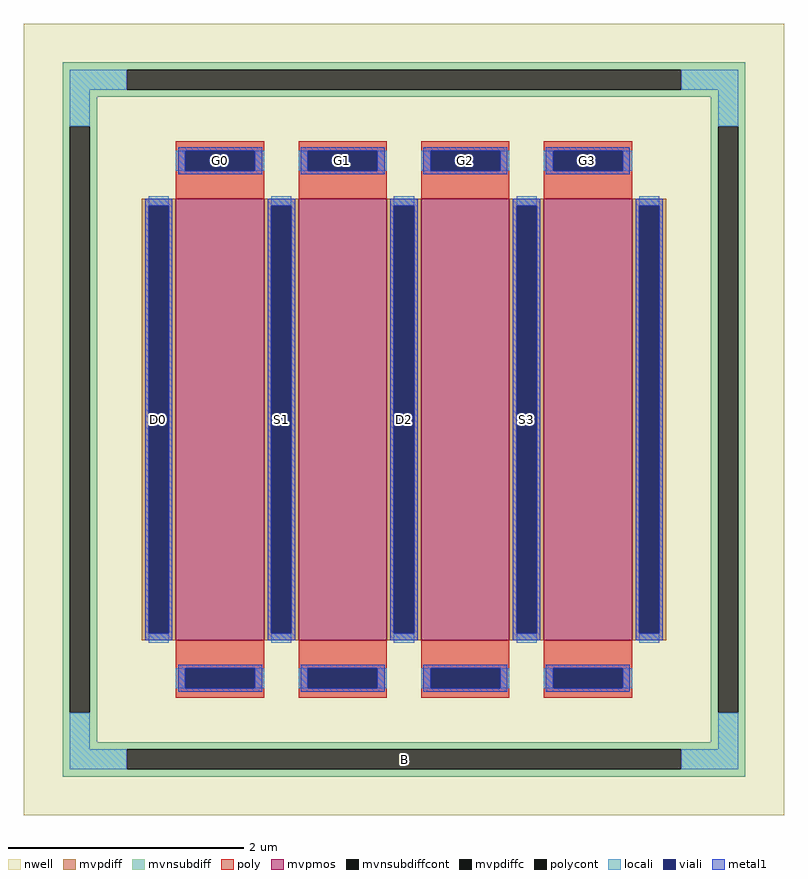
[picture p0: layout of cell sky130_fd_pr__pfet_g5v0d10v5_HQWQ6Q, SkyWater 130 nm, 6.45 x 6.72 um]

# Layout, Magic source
magic
tech sky130A
magscale 1 2
<< nwell >>
rect -645 -672 645 672
<< mvpmos >>
rect -387 -375 -237 375
rect -179 -375 -29 375
rect 29 -375 179 375
rect 237 -375 387 375
<< mvpdiff >>
rect -445 363 -387 375
rect -445 -363 -433 363
rect -399 -363 -387 363
rect -445 -375 -387 -363
rect -237 363 -179 375
rect -237 -363 -225 363
rect -191 -363 -179 363
rect -237 -375 -179 -363
rect -29 363 29 375
rect -29 -363 -17 363
rect 17 -363 29 363
rect -29 -375 29 -363
rect 179 363 237 375
rect 179 -363 191 363
rect 225 -363 237 363
rect 179 -375 237 -363
rect 387 363 445 375
rect 387 -363 399 363
rect 433 -363 445 363
rect 387 -375 445 -363
<< mvpdiffc >>
rect -433 -363 -399 363
rect -225 -363 -191 363
rect -17 -363 17 363
rect 191 -363 225 363
rect 399 -363 433 363
<< mvnsubdiff >>
rect -579 594 579 606
rect -579 560 -471 594
rect 471 560 579 594
rect -579 548 579 560
rect -579 498 -521 548
rect -579 -498 -567 498
rect -533 -498 -521 498
rect 521 498 579 548
rect -579 -548 -521 -498
rect 521 -498 533 498
rect 567 -498 579 498
rect 521 -548 579 -498
rect -579 -560 579 -548
rect -579 -594 -471 -560
rect 471 -594 579 -560
rect -579 -606 579 -594
<< mvnsubdiffcont >>
rect -471 560 471 594
rect -567 -498 -533 498
rect 533 -498 567 498
rect -471 -594 471 -560
<< poly >>
rect -387 456 -237 472
rect -387 422 -371 456
rect -253 422 -237 456
rect -387 375 -237 422
rect -179 456 -29 472
rect -179 422 -163 456
rect -45 422 -29 456
rect -179 375 -29 422
rect 29 456 179 472
rect 29 422 45 456
rect 163 422 179 456
rect 29 375 179 422
rect 237 456 387 472
rect 237 422 253 456
rect 371 422 387 456
rect 237 375 387 422
rect -387 -422 -237 -375
rect -387 -456 -371 -422
rect -253 -456 -237 -422
rect -387 -472 -237 -456
rect -179 -422 -29 -375
rect -179 -456 -163 -422
rect -45 -456 -29 -422
rect -179 -472 -29 -456
rect 29 -422 179 -375
rect 29 -456 45 -422
rect 163 -456 179 -422
rect 29 -472 179 -456
rect 237 -422 387 -375
rect 237 -456 253 -422
rect 371 -456 387 -422
rect 237 -472 387 -456
<< polycont >>
rect -371 422 -253 456
rect -163 422 -45 456
rect 45 422 163 456
rect 253 422 371 456
rect -371 -456 -253 -422
rect -163 -456 -45 -422
rect 45 -456 163 -422
rect 253 -456 371 -422
<< locali >>
rect -567 560 -471 594
rect 471 560 567 594
rect -567 498 -533 560
rect 533 498 567 560
rect -387 422 -371 456
rect -253 422 -237 456
rect -179 422 -163 456
rect -45 422 -29 456
rect 29 422 45 456
rect 163 422 179 456
rect 237 422 253 456
rect 371 422 387 456
rect -433 363 -399 379
rect -433 -379 -399 -363
rect -225 363 -191 379
rect -225 -379 -191 -363
rect -17 363 17 379
rect -17 -379 17 -363
rect 191 363 225 379
rect 191 -379 225 -363
rect 399 363 433 379
rect 399 -379 433 -363
rect -387 -456 -371 -422
rect -253 -456 -237 -422
rect -179 -456 -163 -422
rect -45 -456 -29 -422
rect 29 -456 45 -422
rect 163 -456 179 -422
rect 237 -456 253 -422
rect 371 -456 387 -422
rect -567 -560 -533 -498
rect 533 -560 567 -498
rect -567 -594 -471 -560
rect 471 -594 567 -560
<< viali >>
rect -371 422 -253 456
rect -163 422 -45 456
rect 45 422 163 456
rect 253 422 371 456
rect -433 -363 -399 363
rect -225 -363 -191 363
rect -17 -363 17 363
rect 191 -363 225 363
rect 399 -363 433 363
rect -371 -456 -253 -422
rect -163 -456 -45 -422
rect 45 -456 163 -422
rect 253 -456 371 -422
<< metal1 >>
rect -383 456 -241 462
rect -383 422 -371 456
rect -253 422 -241 456
rect -383 416 -241 422
rect -175 456 -33 462
rect -175 422 -163 456
rect -45 422 -33 456
rect -175 416 -33 422
rect 33 456 175 462
rect 33 422 45 456
rect 163 422 175 456
rect 33 416 175 422
rect 241 456 383 462
rect 241 422 253 456
rect 371 422 383 456
rect 241 416 383 422
rect -439 363 -393 375
rect -439 -363 -433 363
rect -399 -363 -393 363
rect -439 -375 -393 -363
rect -231 363 -185 375
rect -231 -363 -225 363
rect -191 -363 -185 363
rect -231 -375 -185 -363
rect -23 363 23 375
rect -23 -363 -17 363
rect 17 -363 23 363
rect -23 -375 23 -363
rect 185 363 231 375
rect 185 -363 191 363
rect 225 -363 231 363
rect 185 -375 231 -363
rect 393 363 439 375
rect 393 -363 399 363
rect 433 -363 439 363
rect 393 -375 439 -363
rect -383 -422 -241 -416
rect -383 -456 -371 -422
rect -253 -456 -241 -422
rect -383 -462 -241 -456
rect -175 -422 -33 -416
rect -175 -456 -163 -422
rect -45 -456 -33 -422
rect -175 -462 -33 -456
rect 33 -422 175 -416
rect 33 -456 45 -422
rect 163 -456 175 -422
rect 33 -462 175 -456
rect 241 -422 383 -416
rect 241 -456 253 -422
rect 371 -456 383 -422
rect 241 -462 383 -456
<< labels >>
rlabel mvnsubdiffcont 0 -577 0 -577 0 B
port 1 nsew
rlabel mvpdiffc -416 0 -416 0 0 D0
port 2 nsew
rlabel polycont -312 439 -312 439 0 G0
port 3 nsew
rlabel mvpdiffc -208 0 -208 0 0 S1
port 4 nsew
rlabel polycont -104 439 -104 439 0 G1
port 5 nsew
rlabel mvpdiffc 0 0 0 0 0 D2
port 6 nsew
rlabel polycont 104 439 104 439 0 G2
port 7 nsew
rlabel mvpdiffc 208 0 208 0 0 S3
port 8 nsew
rlabel polycont 312 439 312 439 0 G3
port 9 nsew
<< properties >>
string FIXED_BBOX -550 -577 550 577
string gencell sky130_fd_pr__pfet_g5v0d10v5
string library sky130
string parameters w 3.75 l 0.75 m 1 nf 4 diffcov 100 polycov 100 guard 1 glc 1 grc 1 gtc 1 gbc 1 tbcov 100 rlcov 100 topc 1 botc 1 poverlap 0 doverlap 1 lmin 0.50 wmin 0.42 class mosfet compatible {sky130_fd_pr__pfet_01v8  sky130_fd_pr__pfet_01v8_lvt sky130_fd_pr__pfet_01v8_hvt  sky130_fd_pr__pfet_g5v0d10v5} full_metal 1 conn_gates 0 viasrc 100 viadrn 100 viagate 100 viagb 0 viagr 0 viagl 0 viagt 0 doports 1
<< end >>
